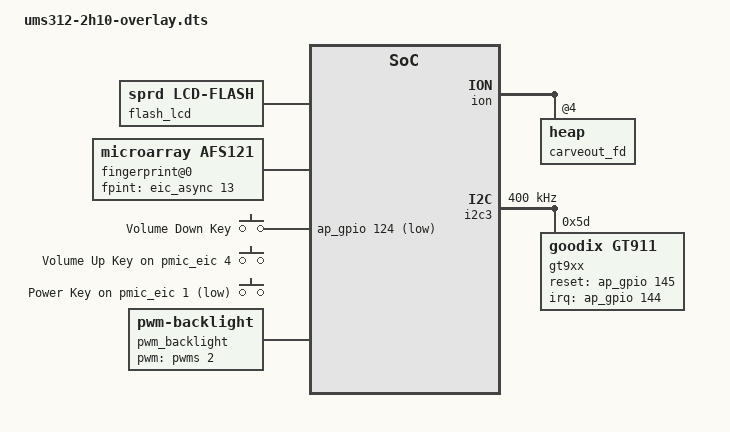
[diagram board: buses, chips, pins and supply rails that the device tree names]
/dts-v1/;
/plugin/;

#include <dt-bindings/input/input.h>
#include <dt-bindings/gpio/gpio.h>

/ {
	fragment {
		target-path = "/";
		__overlay__ {
			flash_lcd: flash-lcd {
				compatible = "sprd,lcd-flash";
				sprd,dpu = <&dpu>;
				sprd,backlight = <&pwm_backlight>;
				status = "okay";
			};

			fingerprint@0 {
				compatible = "microarray,afs121";
				fpint-gpios = <&eic_async 13 0>;
			};

			gpio-keys {
				compatible = "gpio-keys";

				key-volumedown {
					label = "Volume Down Key";
					linux,code = <KEY_VOLUMEDOWN>;
					gpios = <&ap_gpio 124 GPIO_ACTIVE_LOW>;
					debounce-interval = <2>;
					wakeup-source;
				};

				key-volumeup {
					label = "Volume Up Key";
					linux,code = <KEY_VOLUMEUP>;
					gpios = <&pmic_eic 4 GPIO_ACTIVE_HIGH>;
					debounce-interval = <2>;
					wakeup-source;
				};

				key-power {
					label = "Power Key";
					linux,code = <KEY_POWER>;
					gpios = <&pmic_eic 1 GPIO_ACTIVE_LOW>;
					debounce-interval = <2>;
					wakeup-source;
				};
			};

			pwm_backlight: sprd_backlight {
				compatible = "pwm-backlight";
				pwms = <&pwms 2 300000>;
				pwm-names = "backlight";
				brightness-levels = <
					80 80 80 81 81 82 82 83 83 84
					84 85 85 86 86 87 87 88 88 88
					89 89 90 90 91 91 92 92 93 93
					94 94 95 95 96 96 96 97 97 98
					98 99 99 100 100 101 101 102 102 103
					103 104 104 104 105 105 106 106 107 107
					108 108 109 109 110 110 111 111 112 112
					112 113 113 114 114 115 115 116 116 117
					117 118 118 119 119 120 120 120 121 121
					122 122 123 123 124 124 125 125 126 126
					127 127 128 128 128 129 129 130 130 131
					131 132 132 133 133 134 134 135 135 136
					136 136 137 137 138 138 139 139 140 140
					141 141 142 142 143 143 144 144 144 145
					145 146 146 147 147 148 148 149 149 150
					150 151 151 152 152 152 153 153 154 154
					155 155 156 156 157 157 158 158 159 159
					160 160 160 161 161 162 162 163 163 164
					164 165 165 166 166 167 167 168 168 168
					169 169 170 170 171 171 172 172 173 173
					174 174 175 175 176 176 176 177 177 178
					178 179 179 180 180 181 181 182 182 183
					183 184 184 184 185 185 186 186 187 187
					188 188 189 189 190 190 191 191 192 192
					192 193 193 194 194 195 195 196 196 197
					197 198 198 199 199 200
					>;
				default-brightness-level = <40>;
			};
		};
	};
};

&reserved_memory {

	fd_reserved: face-mem@fd1c0000{
		reg = <0x0 0xfd1c0000 0x0 0x01e00000>;
	};
};

&ion {
	heap@4 {
		reg = <4>;
		label = "carveout_fd";
		type = <2>;
		memory-region = <&fd_reserved>;
	};
};

&i2c3 {
	status = "okay";
	clock-frequency = <400000>;
	/* 
	adaptive-touchscreen@38 {
		compatible = "adaptive-touchscreen";
		reg = <0x38>;
		gpios = <&ap_gpio 145 GPIO_ACTIVE_HIGH
			&ap_gpio 144 GPIO_ACTIVE_HIGH>;
		controller = "focaltech,FT5436";
		virtualkeys = <580 60 1320 60 45
				172 360 1320 60 45
				158 600 1320 60 45>;
		private-data {
			a8 = /bits/ 8 <0x5a>;
		};
	};
	*/

	/*
	hynitron-ts@5a {
		compatible = "hynitron,cst1xx";
		reg = <0x5a>;
		// interrupts = <14 IRQ_TYPE_EDGE_FALLING 14 0>;
		// vcc_i2c-supply = <&>;
		hynitron,panel-coords = <0 1080 0 2160>;
		hynitron,display-coords = <0 1080 0 2160>;
		hynitron,irq-gpio = <&ap_gpio 144 0x00>;
		hynitron,rst-gpio = <&ap_gpio 145 0x00>;
		report_type = <1>;
		status = "okay";
	};
	*/
	/*
	gt9xx@28 {
	compatible = "goodix,gt911";
	reg = <0x28>;
	status = "okay";

	reset = <&ap_gpio 145 0x00>;
	irq = <&ap_gpio 144 0x00>;
	};
	*/

	gt9xx@5d {
	compatible = "goodix,gt911";
	reg = <0x5d>; 
	status = "okay";

	reset-gpios = <&ap_gpio 145 0x00>;
	irq-gpios = <&ap_gpio 144 0x00>;
	irq-flags = <2>;

	touchscreen-max-id = <11>;
	touchscreen-size-x = <640>;
	touchscreen-size-y = <480>;
	touchscreen-max-w = <512>;
	touchscreen-max-p = <512>;
	touchscreen-key-map = <172>, <158>; /*KEY_HOMEPAGE=172, KEY_BACK=158,KEY_MENU=139*/
	
	goodix,slide-wakeup = <0>;
	goodix,type-a-report = <0>;
	goodix,driver-send-cfg = <1>;
	goodix,resume-in-workqueue = <0>;
	goodix,int-sync = <1>;
	goodix,swap-x2y = <0>;
	goodix,esd-protect = <1>;
	goodix,auto-update-cfg = <0>;
	goodix,power-off-sleep = <0>;
	goodix,pen-suppress-finger = <0>;
	// 53 D0 02 00 05 05 F5 D5 21 48 2D 0F 5A 41 0E 05 00 00 32 32 20 00 05 14 14 1A 14 8B 2B 00
	/*	first time
		42 80 02 E0 01 05 3D 00 02 08 1E 0A 55 3C 03 05 00 00 00 00
		02 00 07 17 19 1C 14 85 26 08 31 33 B5 06 00 00 00 00 03 1D
		00 01 00 00 00 00 00 00 00 00 00 23 3C 94 D5 02 08 00 00 00
		A9 24 00 96 29 00 8A 2D 00 7B 33 00 71 38 00 71 00 00 00 00
		00 00 00 00 00 00 00 00 00 00 00 00 00 00 00 00 00 00 00 00
		00 00 00 00 00 00 00 00 00 00 00 00 10 0E 0C 0A 08 06 04 02
		FF FF FF FF FF FF 00 00 00 00 00 00 00 00 00 00 00 00 00 00
		00 00 00 02 04 06 08 1D 1E 1F 20 21 22 FF FF FF FF FF FF FF
		FF FF FF FF FF FF FF FF 00 00 00 00 00 00 00 00 00 00 00 00
		00 00 00 00 11 01
	*/
	/*	100hz
		46 80 02 E0 01 05 0D 00 02 08 1E 0A 55 3C 03 05 00 00 00 00
		20 00 07 00 00 00 00 85 26 08 31 33 B5 06 00 00 00 01 03 1D 
		00 01 00 00 00 00 00 00 00 00 00 23 3C 94 D5 02 08 00 00 00
		A9 24 00 96 29 00 8A 2D 00 7B 33 00 71 38 00 71 00 00 00 00
		00 00 00 00 00 00 00 00 00 00 00 00 00 00 00 00 00 00 00 00
		00 00 00 00 00 00 00 00 00 00 00 00 10 0E 0C 0A 08 06 04 02
		FF FF FF FF FF FF 00 00 00 00 00 00 00 00 00 00 00 00 00 00
		00 00 00 02 04 06 08 1D 1E 1F 20 21 22 FF FF FF FF FF FF FF
		FF FF FF FF FF FF FF FF 00 00 00 00 00 00 00 00 00 00 00 00
		00 00 00 00 7E 01
	*/
	/*120hz
		46 80 02 E0 01 05 0D 00 02 08 1E 0A 55 3C 03 03 00 00 00 00
		20 00 07 00 00 00 00 85 26 08 31 33 A6 0F 00 00 00 01 03 1D
		00 01 00 00 00 00 00 00 00 00 00 23 3C 94 D5 02 08 00 00 00
		A9 24 00 96 29 00 8A 2D 00 7B 33 00 71 38 00 71 00 00 00 00
		00 00 00 00 00 00 00 00 00 00 00 00 00 00 00 00 00 00 00 00
		00 00 00 00 00 00 00 00 00 00 00 00 10 0E 0C 0A 08 06 04 02
		FF FF FF FF FF FF 00 00 00 00 00 00 00 00 00 00 00 00 00 00
		00 00 00 02 04 06 08 1D 1E 1F 20 21 22 FF FF FF FF FF FF FF
		FF FF FF FF FF FF FF FF 00 00 00 00 00 00 00 00 00 00 00 00
		00 00 00 00 86 01
	*/
	goodix,cfg-group0 = [
		46 80 02 E0 01 05 0D 00 02 08 1E 0A 55 3C 03 03 00 00 00 00
		20 00 07 00 00 00 00 85 26 08 31 33 A6 0F 00 00 00 01 03 1D
		00 01 00 00 00 00 00 00 00 00 00 23 3C 94 D5 02 08 00 00 00
		A9 24 00 96 29 00 8A 2D 00 7B 33 00 71 38 00 71 00 00 00 00
		00 00 00 00 00 00 00 00 00 00 00 00 00 00 00 00 00 00 00 00
		00 00 00 00 00 00 00 00 00 00 00 00 10 0E 0C 0A 08 06 04 02
		FF FF FF FF FF FF 00 00 00 00 00 00 00 00 00 00 00 00 00 00
		00 00 00 02 04 06 08 1D 1E 1F 20 21 22 FF FF FF FF FF FF FF
		FF FF FF FF FF FF FF FF 00 00 00 00 00 00 00 00 00 00 00 00
		00 00 00 00 86 01
	];
	};
};

&panel {
	sprd,backlight = <&pwm_backlight>;
};

&ddr_dfs {
	sprd-scene = "boost", "lcdon", "lcdoff", "camlow",
		"camhigh", "camveryhigh", "dpu";
	sprd-freq = <933 512 256 384 512 933 384>;
};
